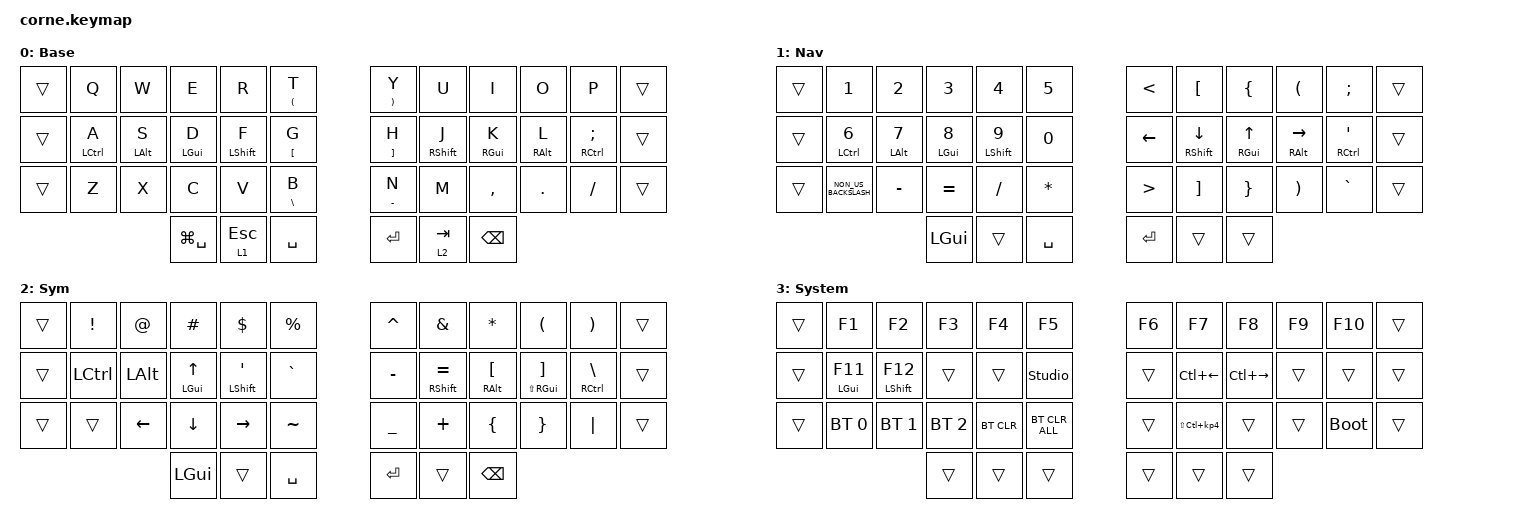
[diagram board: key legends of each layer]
#include <behaviors.dtsi>
#include <dt-bindings/zmk/bt.h>
#include <dt-bindings/zmk/keys.h>

#define DEF 0
#define NAV 1
#define SYM 2
#define ADJ 3

//testing mouse movement and scroll binds...

&mt { flavor = "tap-preferred"; };

/ {
    behaviors {
        hm: homerow_mods {
            compatible = "zmk,behavior-hold-tap";
            label = "HOMEROW_MODS";
            #binding-cells = <2>;
            tapping-term-ms = <200>;
            flavor = "tap-preferred";
            bindings = <&kp>, <&kp>;

            quick-tap-ms = <180>;
        };

        para: para {
            compatible = "zmk,behavior-tap-dance";
            label = "PARA";
            #binding-cells = <0>;
            bindings = <&kp LEFT_PARENTHESIS>, <&kp RIGHT_PARENTHESIS>;
        };

        caps: caps {
            compatible = "zmk,behavior-caps-word";
            label = "CAPS";
            #binding-cells = <0>;
            continue-list = <MINUS BACKSPACE>;
        };

        paraless: paraless {
            compatible = "zmk,behavior-mod-morph";
            label = "PARALESS";
            bindings = <&kp LEFT_PARENTHESIS>, <&kp LESS_THAN>;

            #binding-cells = <0>;
            mods = <(MOD_LSFT)>;
        };

        paragreat: paragreat {
            compatible = "zmk,behavior-mod-morph";
            label = "PARAGREAT";
            bindings = <&kp RIGHT_PARENTHESIS>, <&kp GREATER_THAN>;

            #binding-cells = <0>;
            mods = <(MOD_LSFT)>;
        };
    };

    combos {
        compatible = "zmk,combos";

        escape {
            bindings = <&kp ESCAPE>;
            key-positions = <2 3 1>;
        };

        delete {
            bindings = <&kp DELETE>;
            key-positions = <8 9 10>;
        };

        copy {
            bindings = <&kp RG(C)>;
            key-positions = <28 27>;
        };

        paste {
            bindings = <&kp RG(V)>;
            key-positions = <26 27>;
        };

        tab {
            bindings = <&kp TAB>;
            key-positions = <14 15 13>;
        };

        exclm {
            bindings = <&kp EXCLAMATION>;
            key-positions = <1 13>;
        };

        at {
            bindings = <&kp AT_SIGN>;
            key-positions = <2 14>;
        };

        hash {
            bindings = <&kp HASH>;
            key-positions = <3 15>;
        };

        dllr {
            bindings = <&kp DOLLAR>;
            key-positions = <4 16>;
        };

        percnt {
            bindings = <&kp PERCENT>;
            key-positions = <5 17>;
        };

        caret {
            bindings = <&kp CARET>;
            key-positions = <6 18>;
        };

        and {
            bindings = <&kp AMPS>;
            key-positions = <7 19>;
        };

        str {
            bindings = <&kp ASTRK>;
            key-positions = <8 20>;
        };

        leftparen {
            bindings = <&kp LEFT_PARENTHESIS>;
            key-positions = <9 21>;
        };

        rightparen {
            bindings = <&kp RIGHT_PARENTHESIS>;
            key-positions = <10 22>;
        };

        undo {
            bindings = <&kp RG(Z)>;
            key-positions = <25 26>;
        };
    };

    //

    keymap {
        compatible = "zmk,keymap";

        DEF {
            display-name = "Base";

            // -----------------------------------------------------------------------------------------
            // |  Q  |  W  |  E  |  R  |  T  |   |  Y  |  U   |  I  |  O  |  P  |
            // |  A  |  S  |  D  |  F  |  G  |   |  H  |  J   |  K  |  L  |  ;  |
            // |  Z  |  X  |  C  |  V  |  B  |   |  N  |  M   |  ,  |  .  |  /  |
            // | GUI | CTRL | SHFT | LWR | SPC |   | ENT | RSE  | BKSP | ALT | ESC |

            bindings = <
&trans  &kp Q               &kp W           &kp E           &kp R             &mt LEFT_PARENTHESIS T    &mt RIGHT_PARENTHESIS Y  &kp U              &kp I            &kp O            &kp P                        &trans
&trans  &hm LEFT_CONTROL A  &hm LEFT_ALT S  &hm LEFT_GUI D  &hm LEFT_SHIFT F  &mt LEFT_BRACKET G        &mt RIGHT_BRACKET H      &hm RIGHT_SHIFT J  &hm RIGHT_GUI K  &hm RIGHT_ALT L  &hm RIGHT_CONTROL SEMICOLON  &trans
&trans  &kp Z               &kp X           &kp C           &kp V             &mt BACKSLASH B           &mt MINUS N              &kp M              &kp COMMA        &kp DOT          &kp FSLH                     &trans
                                            &kp LG(SPACE)   &lt 1 ESCAPE      &kp SPACE                 &kp RET                  &lt 2 TAB          &kp BACKSPACE
            >;
        };

        NAV {
            display-name = "Nav";

            // -----------------------------------------------------------------------------------------
            // |  TAB |  1  |  2  |  3  |  4  |  5  |   |  6  |  7  |  8  |  9  |  0  | BKSP |
            // | BTCLR| BT1 | BT2 | BT3 | BT4 | BT5 |   | LFT | DWN |  UP | RGT |     |      |
            // | SHFT |     |     |     |     |     |   |     |     |     |     |     |      |
            // | GUI | CTRL | SHFT | LWR | SPC |   | ENT | RSE  | BKSP | ALT | ESC |

            bindings = <
&trans  &kp N1                &kp N2           &kp N3           &kp N4             &kp N5          &kp LESS_THAN     &kp LEFT_BRACKET            &kp LEFT_BRACE          &kp LEFT_PARENTHESIS       &kp SEMICOLON          &trans
&trans  &hm LEFT_CONTROL N6   &hm LEFT_ALT N7  &hm LEFT_GUI N8  &hm LEFT_SHIFT N9  &kp N0          &kp LEFT_ARROW    &hm RIGHT_SHIFT DOWN_ARROW  &hm RIGHT_GUI UP_ARROW  &hm RIGHT_ALT RIGHT_ARROW  &hm RIGHT_CONTROL SQT  &trans
&trans  &kp NON_US_BACKSLASH  &kp MINUS        &kp EQUAL        &kp SLASH          &kp ASTERISK    &kp GREATER_THAN  &kp RIGHT_BRACKET           &kp RIGHT_BRACE         &kp RIGHT_PARENTHESIS      &kp GRAVE              &trans
                                               &kp LGUI         &trans             &kp SPACE       &kp RET           &trans                      &trans
            >;
        };

        SYM {
            display-name = "Sym";

            // -----------------------------------------------------------------------------------------
            // |  TAB |  !  |  @  |  #  |  $  |  %  |   |  ^  |  &  |  *  |  (  |  )  | BKSP |
            // | CTRL |     |     |     |     |     |   |  -  |  =  |  [  |  ]  |  \  |  `   |
            // | SHFT |     |     |     |     |     |   |  _  |  +  |  {  |  }  | "|" |  ~   |
            //                    | GUI |     | SPC |   | ENT |     | ALT |

            bindings = <
&trans  &kp EXCL          &kp AT          &kp HASH               &kp DLLR            &kp PRCNT    &kp CARET  &kp AMPS               &kp ASTRK           &kp LEFT_PARENTHESIS    &kp RPAR                &trans
&trans  &kp LEFT_CONTROL  &kp LEFT_ALT    &hm LEFT_GUI UP_ARROW  &hm LEFT_SHIFT SQT  &kp GRAVE    &kp MINUS  &hm RIGHT_SHIFT EQUAL  &hm RIGHT_ALT LBKT  &hm LS(RIGHT_GUI) RBKT  &hm RIGHT_CONTROL BSLH  &trans
&trans  &trans            &kp LEFT_ARROW  &kp DOWN_ARROW         &kp RIGHT_ARROW     &kp TILDE    &kp UNDER  &kp PLUS               &kp LBRC            &kp RBRC                &kp PIPE                &trans
                                          &kp LGUI               &trans              &kp SPACE    &kp RET    &trans                 &kp BACKSPACE
            >;
        };

        ADJ {
            display-name = "System";
            bindings = <
&trans  &kp F1        &kp F2         &kp F3        &kp F4      &kp F5            &kp F6  &kp F7                   &kp F8         &kp F9  &kp F10      &trans
&trans  &hm LGUI F11  &hm LSHFT F12  &trans        &trans      &studio_unlock    &trans  &kp LC(LEFT)             &kp LC(RIGHT)  &trans  &trans       &trans
&trans  &bt BT_SEL 0  &bt BT_SEL 1   &bt BT_SEL 2  &bt BT_CLR  &bt BT_CLR_ALL    &trans  &kp LS(LC(KP_NUMBER_4))  &trans         &trans  &bootloader  &trans
                                     &trans        &trans      &trans            &trans  &trans                   &trans
            >;
        };
    };

    conditional_layers {
        compatible = "zmk,conditional-layers";

        l3 {
            if-layers = <1 2>;
            then-layer = <3>;
        };
    };
};
